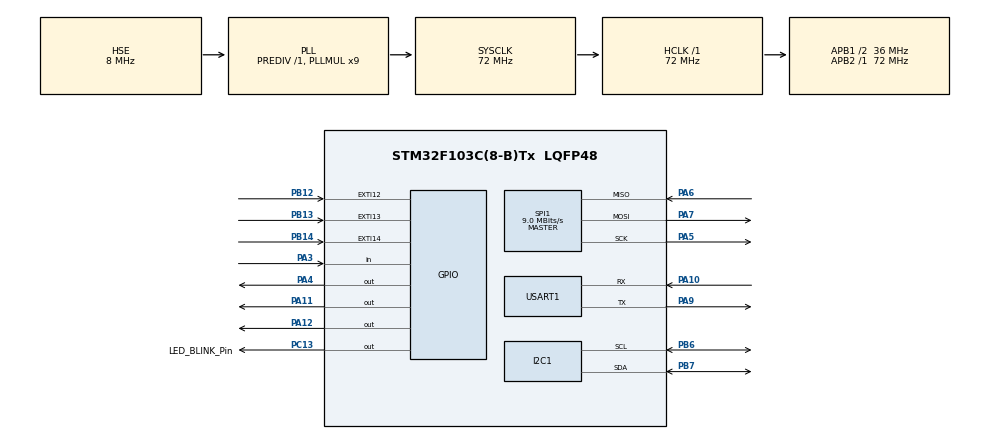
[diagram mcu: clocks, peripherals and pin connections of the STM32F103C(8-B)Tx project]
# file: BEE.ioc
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Dma.Request0=SPI1_RX
Dma.Request1=SPI1_TX
Dma.SPI1_RX.0.Direction=DMA_PERIPH_TO_MEMORY
Dma.SPI1_RX.0.Instance=DMA1_Channel2
Dma.SPI1_RX.0.MemDataAlignment=DMA_MDATAALIGN_BYTE
Dma.SPI1_RX.0.MemInc=DMA_MINC_ENABLE
Dma.SPI1_RX.0.Mode=DMA_NORMAL
Dma.SPI1_RX.0.PeriphDataAlignment=DMA_PDATAALIGN_BYTE
Dma.SPI1_RX.0.PeriphInc=DMA_PINC_DISABLE
Dma.SPI1_RX.0.Priority=DMA_PRIORITY_VERY_HIGH
Dma.SPI1_TX.1.Direction=DMA_MEMORY_TO_PERIPH
Dma.SPI1_TX.1.Instance=DMA1_Channel3
Dma.SPI1_TX.1.MemDataAlignment=DMA_MDATAALIGN_WORD
Dma.SPI1_TX.1.MemInc=DMA_MINC_ENABLE
Dma.SPI1_TX.1.Mode=DMA_CIRCULAR
Dma.SPI1_TX.1.PeriphDataAlignment=DMA_PDATAALIGN_BYTE
Dma.SPI1_TX.1.PeriphInc=DMA_PINC_DISABLE
Dma.SPI1_TX.1.Priority=DMA_PRIORITY_MEDIUM
I2C1.I2C_Mode=I2C_Fast
Mcu.Family=STM32F1
Mcu.Name=STM32F103C(8-B)Tx
Mcu.Package=LQFP48
NVIC.DMA1_Channel2_IRQn=true\:0\:0\:false\:false\:true\:false\:true
NVIC.DMA1_Channel3_IRQn=true\:0\:0\:false\:false\:true\:false\:true
NVIC.EXTI15_10_IRQn=true\:0\:0\:false\:false\:true\:true\:true
NVIC.PriorityGroup=NVIC_PRIORITYGROUP_0
NVIC.TIM1_UP_IRQn=true\:0\:0\:false\:false\:true\:false\:true
NVIC.TimeBase=TIM1_UP_IRQn
NVIC.TimeBaseIP=TIM1
PA10.Mode=Asynchronous
PA10.Signal=USART1_RX
PA11.GPIO_ModeDefaultOutputPP=GPIO_MODE_OUTPUT_PP
PA11.GPIO_Speed=GPIO_SPEED_FREQ_HIGH
PA11.Signal=GPIO_Output
PA12.GPIO_ModeDefaultOutputPP=GPIO_MODE_OUTPUT_PP
PA12.GPIO_Speed=GPIO_SPEED_FREQ_HIGH
PA12.Signal=GPIO_Output
PA13.Mode=Serial_Wire
PA13.Signal=SYS_JTMS-SWDIO
PA14.Mode=Serial_Wire
PA14.Signal=SYS_JTCK-SWCLK
PA3.GPIO_PuPd=GPIO_NOPULL
PA3.Signal=GPIO_Input
PA4.GPIO_PuPd=GPIO_NOPULL
PA4.GPIO_Speed=GPIO_SPEED_FREQ_HIGH
PA4.PinState=GPIO_PIN_SET
PA4.Signal=GPIO_Output
PA5.Mode=Full_Duplex_Master
PA5.Signal=SPI1_SCK
PA6.Mode=Full_Duplex_Master
PA6.Signal=SPI1_MISO
PA7.Mode=Full_Duplex_Master
PA7.Signal=SPI1_MOSI
PA9.Mode=Asynchronous
PA9.Signal=USART1_TX
PB12.GPIO_ModeDefaultEXTI=GPIO_MODE_IT_FALLING
PB12.GPIO_PuPd=GPIO_PULLUP
PB12.Signal=GPXTI12
PB13.GPIO_ModeDefaultEXTI=GPIO_MODE_IT_FALLING
PB13.GPIO_PuPd=GPIO_PULLUP
PB13.Signal=GPXTI13
PB14.GPIO_ModeDefaultEXTI=GPIO_MODE_IT_FALLING
PB14.GPIO_PuPd=GPIO_PULLUP
PB14.Signal=GPXTI14
PB6.Mode=I2C
PB6.Signal=I2C1_SCL
PB7.Mode=I2C
PB7.Signal=I2C1_SDA
PC13-TAMPER-RTC.GPIO_Label=LED_BLINK_Pin
PC13-TAMPER-RTC.Signal=GPIO_Output
PC14-OSC32_IN.Mode=LSE-External-Oscillator
PC14-OSC32_IN.Signal=RCC_OSC32_IN
PC15-OSC32_OUT.Mode=LSE-External-Oscillator
PC15-OSC32_OUT.Signal=RCC_OSC32_OUT
PD0-OSC_IN.Mode=HSE-External-Oscillator
PD0-OSC_IN.Signal=RCC_OSC_IN
PD1-OSC_OUT.Mode=HSE-External-Oscillator
PD1-OSC_OUT.Signal=RCC_OSC_OUT
ProjectManager.HeapSize=0x800
ProjectManager.StackSize=0x800
ProjectManager.TargetToolchain=MDK-ARM V5
RCC.AHBFreq_Value=72000000
RCC.APB1CLKDivider=RCC_HCLK_DIV2
RCC.APB1Freq_Value=36000000
RCC.APB1TimFreq_Value=72000000
RCC.APB2Freq_Value=72000000
RCC.APB2TimFreq_Value=72000000
RCC.HCLKFreq_Value=72000000
RCC.PLLMUL=RCC_PLL_MUL9
RCC.PLLSourceVirtual=RCC_PLLSOURCE_HSE
RCC.SYSCLKFreq_VALUE=72000000
RCC.SYSCLKSource=RCC_SYSCLKSOURCE_PLLCLK
RCC.USBFreq_Value=72000000
SPI1.BaudRatePrescaler=SPI_BAUDRATEPRESCALER_8
SPI1.CLKPhase=SPI_PHASE_2EDGE
SPI1.CLKPolarity=SPI_POLARITY_LOW
SPI1.CalculateBaudRate=9.0 MBits/s
SPI1.Direction=SPI_DIRECTION_2LINES
SPI1.Mode=SPI_MODE_MASTER
SPI1.VirtualType=VM_MASTER
USART1.VirtualMode=VM_ASYNC
VP_SYS_VS_tim1.Mode=TIM1
board=custom

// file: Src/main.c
/* USER CODE BEGIN Header */
/**
  ******************************************************************************
  * @file           : main.c
  * @brief          : Main program body
  ******************************************************************************
  * @attention
  *
  * <h2><center>&copy; Copyright (c) 2020 STMicroelectronics.
  * All rights reserved.</center></h2>
  *
  * This software component is licensed by ST under BSD 3-Clause license,
  * the "License"; You may not use this file except in compliance with the
  * License. You may obtain a copy of the License at:
  *                        opensource.org/licenses/BSD-3-Clause
  *
  ******************************************************************************
  */
/* USER CODE END Header */

#include "main.h"

/* USER CODE BEGIN Includes */
#include "main_activity.h"
#include "ADS1220.h"
#include "stdio.h"
/* USER CODE END Includes */

I2C_HandleTypeDef hi2c1;

SPI_HandleTypeDef hspi1;
DMA_HandleTypeDef hdma_spi1_rx;
DMA_HandleTypeDef hdma_spi1_tx;

UART_HandleTypeDef huart1;

/* USER CODE BEGIN PV */
extern ADS1220_t ADS1220;
extern uint8_t bt_counter[];
extern uint8_t stable_mode;

uint32_t tick = 0;
/* USER CODE END PV */

void SystemClock_Config(void);
static void MX_GPIO_Init(void);
static void MX_DMA_Init(void);
static void MX_USART1_UART_Init(void);
static void MX_SPI1_Init(void);
static void MX_I2C1_Init(void);

/* USER CODE BEGIN 0 */

void HAL_GPIO_EXTI_Callback(uint16_t GPIO_Pin)
{
if (GPIO_Pin ==  GPIO_PIN_12)
	{
		stable_mode = 2;
	}
if (GPIO_Pin ==  GPIO_PIN_13)
	{
		stable_mode = 1;
	}
if (GPIO_Pin ==  GPIO_PIN_14)
	{
		stable_mode = 0;
	}

}

/* USER CODE END 0 */

int main(void)
{

  /* MCU Configuration--------------------------------------------------------*/

  /* Reset of all peripherals, Initializes the Flash interface and the Systick. */
  HAL_Init();

  /* Configure the system clock */
  SystemClock_Config();

  /* Initialize all configured peripherals */
  MX_GPIO_Init();
  MX_DMA_Init();
  MX_USART1_UART_Init();
  MX_SPI1_Init();
  MX_I2C1_Init();
  /* USER CODE BEGIN 2 */
	init_system();
  /* USER CODE END 2 */

  /* Infinite loop */
  /* USER CODE BEGIN WHILE */
  while (1)
  {

		main_activity();
    /* USER CODE END WHILE */

  }
}

void SystemClock_Config(void)
{
  RCC_OscInitTypeDef RCC_OscInitStruct = {0};
  RCC_ClkInitTypeDef RCC_ClkInitStruct = {0};

  /** Initializes the CPU, AHB and APB busses clocks
  */
  RCC_OscInitStruct.OscillatorType = RCC_OSCILLATORTYPE_HSE;
  RCC_OscInitStruct.HSEState = RCC_HSE_ON;
  RCC_OscInitStruct.HSEPredivValue = RCC_HSE_PREDIV_DIV1;
  RCC_OscInitStruct.HSIState = RCC_HSI_ON;
  RCC_OscInitStruct.PLL.PLLState = RCC_PLL_ON;
  RCC_OscInitStruct.PLL.PLLSource = RCC_PLLSOURCE_HSE;
  RCC_OscInitStruct.PLL.PLLMUL = RCC_PLL_MUL9;
  if (HAL_RCC_OscConfig(&RCC_OscInitStruct) != HAL_OK)
  {
    Error_Handler();
  }
  /** Initializes the CPU, AHB and APB busses clocks
  */
  RCC_ClkInitStruct.ClockType = RCC_CLOCKTYPE_HCLK|RCC_CLOCKTYPE_SYSCLK
                              |RCC_CLOCKTYPE_PCLK1|RCC_CLOCKTYPE_PCLK2;
  RCC_ClkInitStruct.SYSCLKSource = RCC_SYSCLKSOURCE_PLLCLK;
  RCC_ClkInitStruct.AHBCLKDivider = RCC_SYSCLK_DIV1;
  RCC_ClkInitStruct.APB1CLKDivider = RCC_HCLK_DIV2;
  RCC_ClkInitStruct.APB2CLKDivider = RCC_HCLK_DIV1;

  if (HAL_RCC_ClockConfig(&RCC_ClkInitStruct, FLASH_LATENCY_2) != HAL_OK)
  {
    Error_Handler();
  }
}

static void MX_I2C1_Init(void)
{

  hi2c1.Instance = I2C1;
  hi2c1.Init.ClockSpeed = 400000;
  hi2c1.Init.DutyCycle = I2C_DUTYCYCLE_2;
  hi2c1.Init.OwnAddress1 = 0;
  hi2c1.Init.AddressingMode = I2C_ADDRESSINGMODE_7BIT;
  hi2c1.Init.DualAddressMode = I2C_DUALADDRESS_DISABLE;
  hi2c1.Init.OwnAddress2 = 0;
  hi2c1.Init.GeneralCallMode = I2C_GENERALCALL_DISABLE;
  hi2c1.Init.NoStretchMode = I2C_NOSTRETCH_DISABLE;
  if (HAL_I2C_Init(&hi2c1) != HAL_OK)
  {
    Error_Handler();
  }

}

static void MX_SPI1_Init(void)
{

  /* SPI1 parameter configuration*/
  hspi1.Instance = SPI1;
  hspi1.Init.Mode = SPI_MODE_MASTER;
  hspi1.Init.Direction = SPI_DIRECTION_2LINES;
  hspi1.Init.DataSize = SPI_DATASIZE_8BIT;
  hspi1.Init.CLKPolarity = SPI_POLARITY_LOW;
  hspi1.Init.CLKPhase = SPI_PHASE_2EDGE;
  hspi1.Init.NSS = SPI_NSS_SOFT;
  hspi1.Init.BaudRatePrescaler = SPI_BAUDRATEPRESCALER_8;
  hspi1.Init.FirstBit = SPI_FIRSTBIT_MSB;
  hspi1.Init.TIMode = SPI_TIMODE_DISABLE;
  hspi1.Init.CRCCalculation = SPI_CRCCALCULATION_DISABLE;
  hspi1.Init.CRCPolynomial = 10;
  if (HAL_SPI_Init(&hspi1) != HAL_OK)
  {
    Error_Handler();
  }

}

static void MX_USART1_UART_Init(void)
{

  huart1.Instance = USART1;
  huart1.Init.BaudRate = 115200;
  huart1.Init.WordLength = UART_WORDLENGTH_8B;
  huart1.Init.StopBits = UART_STOPBITS_1;
  huart1.Init.Parity = UART_PARITY_NONE;
  huart1.Init.Mode = UART_MODE_TX_RX;
  huart1.Init.HwFlowCtl = UART_HWCONTROL_NONE;
  huart1.Init.OverSampling = UART_OVERSAMPLING_16;
  if (HAL_UART_Init(&huart1) != HAL_OK)
  {
    Error_Handler();
  }

}

static void MX_DMA_Init(void)
{
  /* DMA controller clock enable */
  __HAL_RCC_DMA1_CLK_ENABLE();

  /* DMA interrupt init */
  /* DMA1_Channel2_IRQn interrupt configuration */
  HAL_NVIC_SetPriority(DMA1_Channel2_IRQn, 0, 0);
  HAL_NVIC_EnableIRQ(DMA1_Channel2_IRQn);
  /* DMA1_Channel3_IRQn interrupt configuration */
  HAL_NVIC_SetPriority(DMA1_Channel3_IRQn, 0, 0);
  HAL_NVIC_EnableIRQ(DMA1_Channel3_IRQn);

}

static void MX_GPIO_Init(void)
{
  GPIO_InitTypeDef GPIO_InitStruct = {0};

  /* GPIO Ports Clock Enable */
  __HAL_RCC_GPIOC_CLK_ENABLE();
  __HAL_RCC_GPIOD_CLK_ENABLE();
  __HAL_RCC_GPIOA_CLK_ENABLE();
  __HAL_RCC_GPIOB_CLK_ENABLE();

  /*Configure GPIO pin Output Level */
  HAL_GPIO_WritePin(LED_BLINK_Pin_GPIO_Port, LED_BLINK_Pin_Pin, GPIO_PIN_RESET);

  /*Configure GPIO pin Output Level */
  HAL_GPIO_WritePin(GPIOA, GPIO_PIN_4, GPIO_PIN_SET);

  /*Configure GPIO pin Output Level */
  HAL_GPIO_WritePin(GPIOA, GPIO_PIN_11|GPIO_PIN_12, GPIO_PIN_RESET);

  /*Configure GPIO pin : LED_BLINK_Pin_Pin */
  GPIO_InitStruct.Pin = LED_BLINK_Pin_Pin;
  GPIO_InitStruct.Mode = GPIO_MODE_OUTPUT_PP;
  GPIO_InitStruct.Pull = GPIO_NOPULL;
  GPIO_InitStruct.Speed = GPIO_SPEED_FREQ_LOW;
  HAL_GPIO_Init(LED_BLINK_Pin_GPIO_Port, &GPIO_InitStruct);

  /*Configure GPIO pins : PA0 PA1 PA2 PA8
                           PA15 */
  GPIO_InitStruct.Pin = GPIO_PIN_0|GPIO_PIN_1|GPIO_PIN_2|GPIO_PIN_8
                          |GPIO_PIN_15;
  GPIO_InitStruct.Mode = GPIO_MODE_ANALOG;
  HAL_GPIO_Init(GPIOA, &GPIO_InitStruct);

  /*Configure GPIO pin : PA3 */
  GPIO_InitStruct.Pin = GPIO_PIN_3;
  GPIO_InitStruct.Mode = GPIO_MODE_INPUT;
  GPIO_InitStruct.Pull = GPIO_NOPULL;
  HAL_GPIO_Init(GPIOA, &GPIO_InitStruct);

  /*Configure GPIO pins : PA4 PA11 PA12 */
  GPIO_InitStruct.Pin = GPIO_PIN_4|GPIO_PIN_11|GPIO_PIN_12;
  GPIO_InitStruct.Mode = GPIO_MODE_OUTPUT_PP;
  GPIO_InitStruct.Pull = GPIO_NOPULL;
  GPIO_InitStruct.Speed = GPIO_SPEED_FREQ_HIGH;
  HAL_GPIO_Init(GPIOA, &GPIO_InitStruct);

  /*Configure GPIO pins : PB0 PB1 PB2 PB10
                           PB11 PB15 PB3 PB4
                           PB5 PB8 PB9 */
  GPIO_InitStruct.Pin = GPIO_PIN_0|GPIO_PIN_1|GPIO_PIN_2|GPIO_PIN_10
                          |GPIO_PIN_11|GPIO_PIN_15|GPIO_PIN_3|GPIO_PIN_4
                          |GPIO_PIN_5|GPIO_PIN_8|GPIO_PIN_9;
  GPIO_InitStruct.Mode = GPIO_MODE_ANALOG;
  HAL_GPIO_Init(GPIOB, &GPIO_InitStruct);

  /*Configure GPIO pins : PB12 PB13 PB14 */
  GPIO_InitStruct.Pin = GPIO_PIN_12|GPIO_PIN_13|GPIO_PIN_14;
  GPIO_InitStruct.Mode = GPIO_MODE_IT_FALLING;
  GPIO_InitStruct.Pull = GPIO_PULLUP;
  HAL_GPIO_Init(GPIOB, &GPIO_InitStruct);

  /* EXTI interrupt init*/
  HAL_NVIC_SetPriority(EXTI15_10_IRQn, 0, 0);
  HAL_NVIC_EnableIRQ(EXTI15_10_IRQn);

}

void HAL_TIM_PeriodElapsedCallback(TIM_HandleTypeDef *htim)
{
  if (htim->Instance == TIM1) {
    HAL_IncTick();
  }
  /* USER CODE BEGIN Callback 1 */
  if (htim->Instance == TIM1) {
    main_calendar();
  }
  /* USER CODE END Callback 1 */
}

void Error_Handler(void)
{
}

/************************ (C) COPYRIGHT STMicroelectronics *****END OF FILE****/
